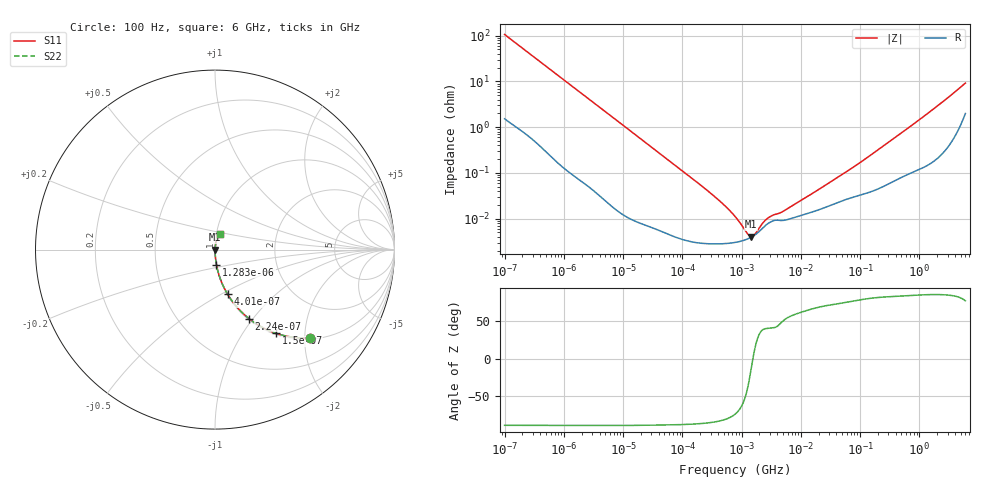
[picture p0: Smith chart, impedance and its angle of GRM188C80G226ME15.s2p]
!Murata Part Number: GRM188C80G226ME15
!These Parameters are Measured in Series Mode Connection
!Data Generated on Mar 30, 2021
!  o--ll--o
!Port1  Port2
!  o------o
!Operation Temp=25[degC], DC Bias Voltage=0[V]
!Freq. Start=100[Hz] Stop=6[GHz] 401[Steps]
# Hz S RI R 50
!Freq.(Hz) S11(Real) S11(Imag) S21(Real) S21(Imag) S12(Real) S12(Imag) S22(Real) S22(Imag)
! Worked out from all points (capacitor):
!   401 points, 100 Hz to 6 GHz, reference 50 ohm
!   read as one part in series: C = 14.9 uF near 109 Hz
!   lowest |Z| = 4.05 mohm at 1.45 MHz (marker M1)
!   series resonance near 1.553 MHz, so ESL is about 700 pH
!   S11 on the Smith chart (normalised r, x): 100 Hz: 1.03, -2.13; 150 Hz: 1.02, -1.43; 224 Hz: 1.01, -0.96; 401 Hz: 1.01, -0.54; 1.283 kHz: 1.00, -0.17; 6 GHz: 1.04, +0.18
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100  0.5305 -0.4919  0.4695 0.4919  0.4695 0.4919  0.5305 -0.4919
150  0.3396 -0.4663  0.6604 0.4663  0.6604 0.4663  0.3396 -0.4663
224  0.1902 -0.385  0.8098 0.385  0.8098 0.385  0.1902 -0.385
306  0.1134 -0.3098  0.8866 0.3098  0.8866 0.3098  0.1134 -0.3098
401  0.0707 -0.2493  0.9293 0.2493  0.9293 0.2493  0.0707 -0.2493
717  0.0241 -0.1473  0.9759 0.1473  0.9759 0.1473  0.0241 -0.1473
1283  0.0081 -0.084  0.9919 0.084  0.9919 0.084  0.0081 -0.084
2008  0.00359 -0.0541  0.9964 0.0541  0.9964 0.0541  0.00359 -0.0541
6433  0.000478 -0.0171  0.9995 0.0171  0.9995 0.0171  0.000478 -0.0171
40335  6.32e-05 -0.00276  0.9999 0.00276  0.9999 0.00276  6.32e-05 -0.00276
316350  2.83e-05 -0.00034  1 0.00034  1 0.00034  2.83e-05 -0.00034
517687  2.86e-05 -0.000192  1 0.000192  1 0.000192  2.86e-05 -0.000192
774597  3.03e-05 -0.000108  1 0.000108  1 0.000108  3.03e-05 -0.000108
926525  3.17e-05 -7.75e-05  1 7.75e-05  1 7.75e-05  3.17e-05 -7.75e-05
1449809  3.93e-05 -9.7e-06  1 9.7e-06  1 9.7e-06  3.93e-05 -9.7e-06
2713602  7.66e-05 6.56e-05  0.9999 -6.56e-05  0.9999 -6.56e-05  7.66e-05 6.56e-05
4856642  9.15e-05 0.000108  0.9999 -0.000108  0.9999 -0.000108  9.15e-05 0.000108
1.555665e7  0.00014 0.000326  0.9999 -0.000326  0.9999 -0.000326  0.00014 0.000326
7.797396e7  0.000299 0.00132  0.9997 -0.00132  0.9997 -0.00132  0.000299 0.00132
3.124326e8  0.000611 0.00481  0.9994 -0.00481  0.9994 -0.00481  0.000611 0.00481
1.873145e9  0.00263 0.0268  0.9974 -0.0268  0.9974 -0.0268  0.00263 0.0268
6e9  0.0271 0.0858  0.9729 -0.0858  0.9729 -0.0858  0.0271 0.0858
